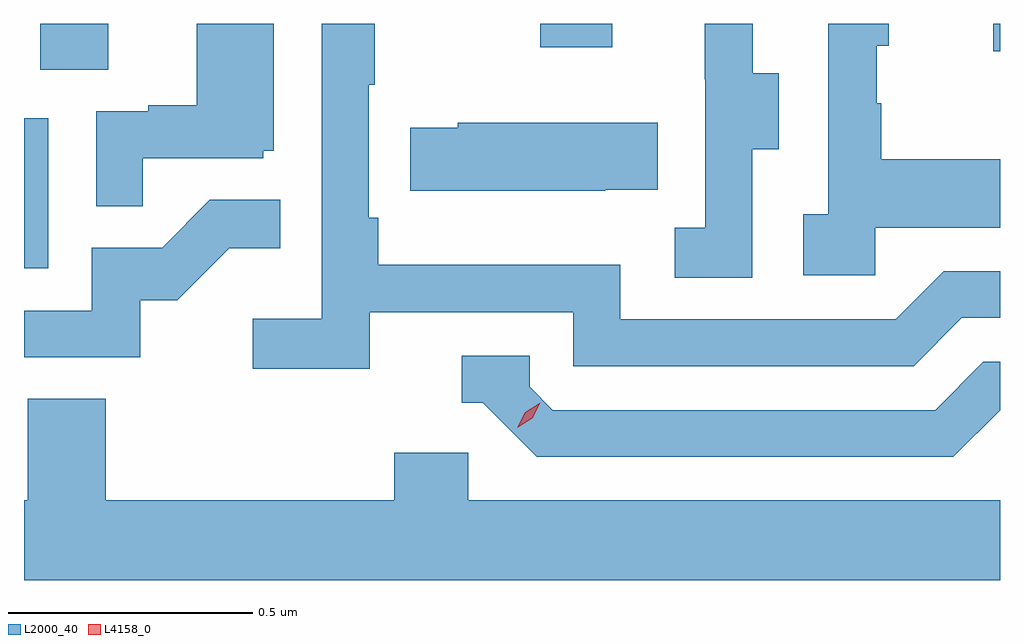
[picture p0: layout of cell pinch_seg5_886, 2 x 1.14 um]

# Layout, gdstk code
import gdstk
lib = gdstk.Library(unit=1e-6, precision=1e-09)
def R(c, l, rs):  # rectangles x0, y0, x1, y1
    for r in rs: c.add(gdstk.rectangle(r[:2], r[2:], *l))
def P(c, l, *ps):  # polygons
    for p in ps: c.add(gdstk.Polygon(p, *l))
L2000_40 = (2000, 40)
L4158_0 = (4158, 0)

pinch_seg5_886 = lib.new_cell('pinch_seg5_886')
R(pinch_seg5_886, L2000_40, [(841.424,885.372,841.474,885.679), (841.457,885.778,841.597,885.873), (843.41,885.816,843.424,885.873), (842.482,885.825,842.629,885.873)])
P(pinch_seg5_886, L2000_40, [(843.168,885.455),(843.424,885.455),(843.424,885.595),(843.181,885.595),(843.181,885.71),(843.171,885.71),(843.171,885.828),(843.196,885.828),(843.196,885.873),(843.072,885.873),(843.072,885.482),(843.021,885.482),(843.021,885.357),(843.168,885.357)],
  [(842.916,885.616),(842.971,885.616),(842.971,885.771),(842.917,885.771),(842.917,885.873),(842.819,885.873),(842.819,885.759),(842.82,885.759),(842.82,885.455),(842.757,885.455),(842.757,885.352),(842.916,885.352)],
  [(841.667,885.597),(841.914,885.597),(841.914,885.612),(841.936,885.612),(841.936,885.873),(841.778,885.873),(841.778,885.706),(841.679,885.706),(841.679,885.693),(841.572,885.693),(841.572,885.499),(841.667,885.499)],
  [(842.132,885.282),(842.55,885.282),(842.55,885.171),(843.247,885.171),(843.346,885.27),(843.424,885.27),(843.424,885.366),(843.309,885.366),(843.21,885.267),(842.646,885.267),(842.646,885.379),(842.15,885.379),(842.15,885.475),(842.13,885.475),(842.13,885.748),(842.143,885.748),(842.143,885.873),(842.034,885.873),(842.034,885.268),(841.893,885.268),(841.893,885.166),(842.132,885.166)],
  [(842.615,885.533),(842.723,885.533),(842.723,885.67),(842.313,885.67),(842.313,885.66),(842.215,885.66),(842.215,885.53),(842.615,885.53)],
  [(841.662,885.306),(841.738,885.306),(841.845,885.413),(841.949,885.413),(841.949,885.512),(841.805,885.512),(841.707,885.414),(841.563,885.414),(841.563,885.285),(841.424,885.285),(841.424,885.189),(841.662,885.189)],
  [(843.424,885.081),(843.424,885.18),(843.39,885.18),(843.291,885.081),(842.508,885.081),(842.46,885.129),(842.46,885.192),(842.321,885.192),(842.321,885.096),(842.364,885.096),(842.475,884.985),(843.328,884.985)],
  [(843.424,884.896),(842.334,884.896),(842.334,884.994),(842.183,884.994),(842.183,884.896),(841.592,884.896),(841.592,885.104),(841.432,885.104),(841.432,884.896),(841.424,884.896),(841.424,884.732),(843.424,884.732)])
P(pinch_seg5_886, L4158_0, [(842.435,885.045),(842.435,885.045),(842.451,885.077),(842.482,885.096),(842.482,885.096),(842.482,885.096),(842.466,885.064),(842.435,885.045)])

lib.write_gds('pinch_seg5_886.gds')
